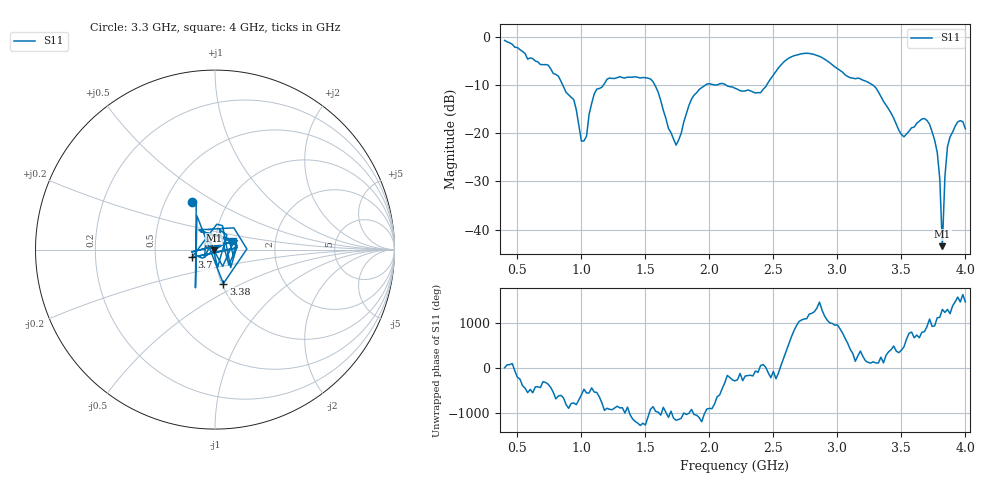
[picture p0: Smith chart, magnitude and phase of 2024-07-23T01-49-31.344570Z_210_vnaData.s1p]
!Created with skrf (http://scikit-rf.org).
# Hz S RI R 50.0
!freq ReS11 ImS11
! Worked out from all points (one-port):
!   181 points, 400 MHz to 4 GHz, reference 50 ohm
!   lowest |S11| = -43.4 dB at 3.82 GHz (marker M1), VSWR 1.01, Z = 49.5 - j0.405 ohm
!   |S11| at or under -10 dB: 853.4 MHz to 1.173 GHz (320 MHz wide, 31.6 % of centre); 1.573 GHz to 1.972 GHz (398.9 MHz wide, 22.5 % of centre); 3.273 GHz to end of sweep (the widest 3 of 5)
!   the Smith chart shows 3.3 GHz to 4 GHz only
!   S11 on the Smith chart (normalised r, x): 3.3 GHz: 0.68, +0.40; 3.38 GHz: 1.02, -0.40; 3.7 GHz: 0.77, -0.07; 4 GHz: 1.22, +0.11
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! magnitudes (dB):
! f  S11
! 400 MHz  -0.8
! 740 MHz  -5.9
! 860 MHz  -10.4
! 940 MHz  -13.1
! 1 GHz  -21.7
! 1.02 GHz  -21.6
! 1.12 GHz  -10.9
! 1.3 GHz  -8.3
! 1.54 GHz  -8.8
! 1.74 GHz  -22.5
! 1.76 GHz  -21.4
! 1.92 GHz  -11.0
! 2.2 GHz  -10.7
! 2.4 GHz  -11.6
! 2.66 GHz  -4.0
! 3.1 GHz  -8.5
! 3.3 GHz  -10.6
! 3.38 GHz  -14.2
! 3.5 GHz  -20.3
! 3.56 GHz  -19.6
! 3.7 GHz  -17.4
! 3.78 GHz  -24.0
! 3.8 GHz  -29.5
! 3.82 GHz  -43.4
! 3.84 GHz  -29.0
! 3.86 GHz  -22.8
! 3.94 GHz  -17.7
! 4 GHz  -19.1
